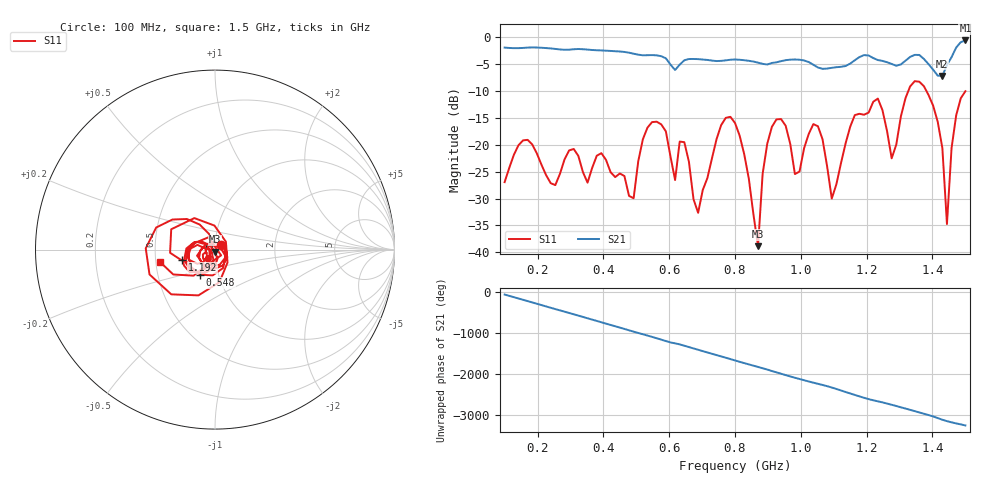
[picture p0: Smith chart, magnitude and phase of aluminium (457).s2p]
! NanoVNA-App
! Date: 2025-09-25 14:58:50
! Start: 100MHz Stop: 1,5GHz Points: 101
! S-Parameter data: F S11 S21 S12 S22
# Hz S RI R 50
!  Frequency  S11_Real  S11_Imag  S21_Real  S21_Imag  S12_Real  S12_Imag  S22_Real  S22_Imag
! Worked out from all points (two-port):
!   101 points, 100 MHz to 1.5 GHz, reference 50 ohm
!   highest |S21| = -0.60 dB at 1.5 GHz (marker M1); lowest = -7.2 dB at 1.43 GHz (marker M2)
!   |S21| within 3 dB of the highest: start of sweep to 578.4 MHz; 1.459 GHz to end of sweep (the widest 2 of 4)
!   lowest |S11| = -38.9 dB at 870 MHz (marker M3), VSWR 1.02, Z = 50.1 - j1.13 ohm
!   |S11| at or under -10 dB: start of sweep to 1.327 GHz; 1.382 GHz to end of sweep
!   S12 and S22 are empty: the file has one direction only
!   S11 on the Smith chart (normalised r, x): 100 MHz: 1.07, +0.06; 548 MHz: 0.82, -0.24; 1.192 GHz: 0.69, -0.08; 1.5 GHz: 0.53, -0.08
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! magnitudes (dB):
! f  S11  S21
! 100 MHz  -27.0  -1.9
! 156 MHz  -19.2  -2.0
! 338 MHz  -25.1  -2.2
! 492 MHz  -30.0  -3.1
! 548 MHz  -15.8  -3.3
! 576 MHz  -16.2  -3.5
! 646 MHz  -19.5  -4.3
! 688 MHz  -32.7  -4.1
! 800 MHz  -15.9  -4.1
! 870 MHz  -38.9  -4.7
! 912 MHz  -16.7  -4.8
! 982 MHz  -25.5  -4.1
! 1.038 GHz  -16.2  -5.1
! 1.094 GHz  -30.0  -5.7
! 1.192 GHz  -14.4  -3.3
! 1.234 GHz  -11.4  -4.2
! 1.276 GHz  -22.5  -5.0
! 1.346 GHz  -8.2  -3.3
! 1.43 GHz  -20.6  -7.2
! 1.444 GHz  -34.8  -5.2
! 1.458 GHz  -20.6  -3.7
! 1.5 GHz  -10.0  -0.6
